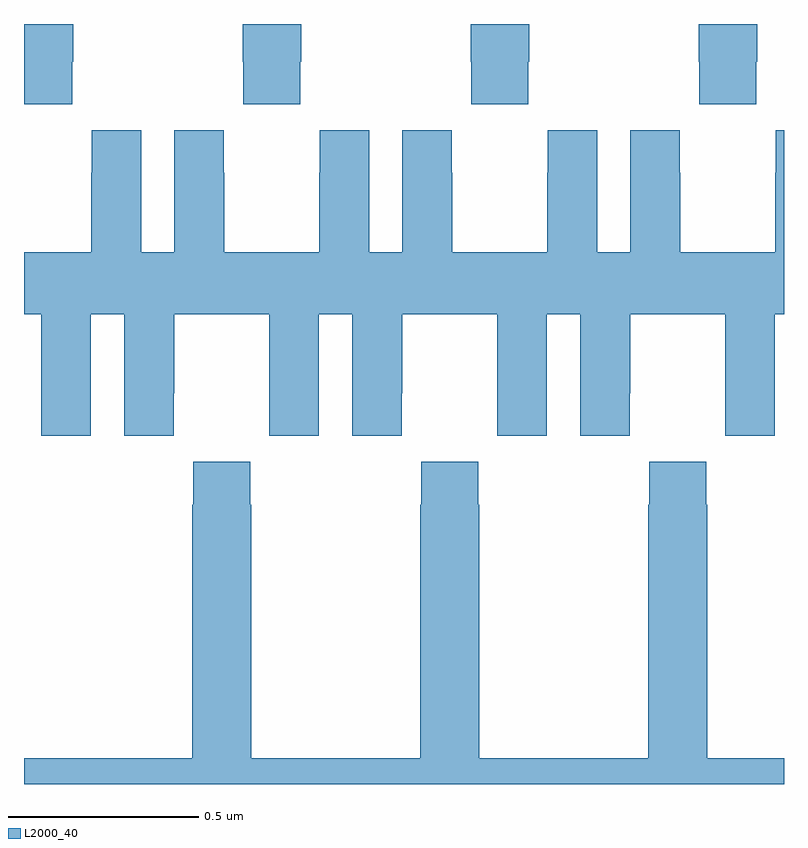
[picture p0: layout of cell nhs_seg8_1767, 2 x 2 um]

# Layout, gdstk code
import gdstk
lib = gdstk.Library(unit=1e-6, precision=1e-09)
def P(c, l, *ps):  # polygons
    for p in ps: c.add(gdstk.Polygon(p, *l))
L2000_40 = (2000, 40)

nhs_seg8_1767 = lib.new_cell('nhs_seg8_1767')
P(nhs_seg8_1767, L2000_40, [(135.927,1147.801),(135.93,1147.801),(135.93,1147.9),(135.775,1147.9),(135.775,1147.801),(135.777,1147.801),(135.777,1147.689),(135.927,1147.689)],
  [(134.727,1147.801),(134.73,1147.801),(134.73,1147.9),(134.575,1147.9),(134.575,1147.801),(134.577,1147.801),(134.577,1147.689),(134.727,1147.689)],
  [(134.127,1147.801),(134.13,1147.801),(134.13,1147.9),(134,1147.9),(134,1147.689),(134.127,1147.689)],
  [(135.327,1147.801),(135.33,1147.801),(135.33,1147.9),(135.175,1147.9),(135.175,1147.801),(135.177,1147.801),(135.177,1147.689),(135.327,1147.689)],
  [(134,1147.136),(134.045,1147.136),(134.045,1146.928),(134.046,1146.928),(134.046,1146.816),(134.176,1146.816),(134.176,1147.136),(134.264,1147.136),(134.264,1146.816),(134.394,1146.816),(134.394,1146.928),(134.395,1146.928),(134.395,1147.136),(134.645,1147.136),(134.645,1146.928),(134.646,1146.928),(134.646,1146.816),(134.776,1146.816),(134.776,1147.136),(134.864,1147.136),(134.864,1146.816),(134.994,1146.816),(134.994,1146.928),(134.995,1146.928),(134.995,1147.136),(135.245,1147.136),(135.245,1146.928),(135.246,1146.928),(135.246,1146.816),(135.376,1146.816),(135.376,1147.136),(135.464,1147.136),(135.464,1146.816),(135.594,1146.816),(135.594,1146.928),(135.595,1146.928),(135.595,1147.136),(135.845,1147.136),(135.845,1146.928),(135.846,1146.928),(135.846,1146.816),(135.976,1146.816),(135.976,1147.136),(136,1147.136),(136,1147.621),(135.978,1147.621),(135.978,1147.508),(135.977,1147.508),(135.977,1147.3),(135.727,1147.3),(135.727,1147.508),(135.726,1147.508),(135.726,1147.621),(135.596,1147.621),(135.596,1147.3),(135.508,1147.3),(135.508,1147.621),(135.378,1147.621),(135.378,1147.508),(135.377,1147.508),(135.377,1147.3),(135.127,1147.3),(135.127,1147.508),(135.126,1147.508),(135.126,1147.621),(134.996,1147.621),(134.996,1147.3),(134.908,1147.3),(134.908,1147.621),(134.778,1147.621),(134.778,1147.508),(134.777,1147.508),(134.777,1147.3),(134.527,1147.3),(134.527,1147.508),(134.526,1147.508),(134.526,1147.621),(134.396,1147.621),(134.396,1147.3),(134.308,1147.3),(134.308,1147.621),(134.178,1147.621),(134.178,1147.508),(134.177,1147.508),(134.177,1147.3),(134,1147.3)],
  [(135.045,1146.635),(135.043,1146.635),(135.043,1145.968),(134.598,1145.968),(134.598,1146.635),(134.595,1146.635),(134.595,1146.748),(134.445,1146.748),(134.445,1146.635),(134.443,1146.635),(134.443,1145.968),(134,1145.968),(134,1145.9),(136,1145.9),(136,1145.968),(135.798,1145.968),(135.798,1146.635),(135.795,1146.635),(135.795,1146.748),(135.645,1146.748),(135.645,1146.635),(135.643,1146.635),(135.643,1145.968),(135.198,1145.968),(135.198,1146.635),(135.195,1146.635),(135.195,1146.748),(135.045,1146.748)])

lib.write_gds('nhs_seg8_1767.gds')
